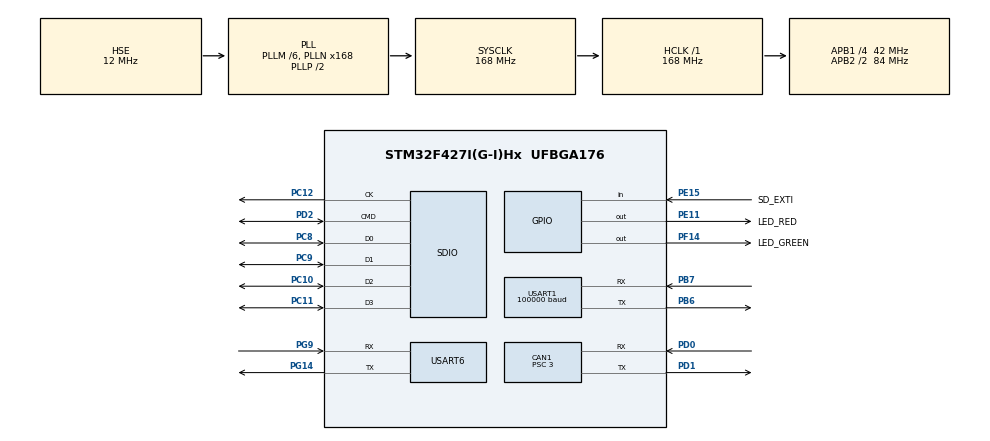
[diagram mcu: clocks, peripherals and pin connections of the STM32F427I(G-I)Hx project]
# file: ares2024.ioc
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CAN1.BS1=CAN_BS1_12TQ
CAN1.CalculateBaudRate=1000000
CAN1.CalculateTimeBit=1000
CAN1.CalculateTimeQuantum=71.42857142857143
CAN1.Prescaler=3
Dma.Request0=USART1_RX
Dma.Request1=USART6_TX
Dma.Request2=SDIO_RX
Dma.Request3=SDIO_TX
Dma.SDIO_RX.2.Direction=DMA_PERIPH_TO_MEMORY
Dma.SDIO_RX.2.FIFOMode=DMA_FIFOMODE_ENABLE
Dma.SDIO_RX.2.FIFOThreshold=DMA_FIFO_THRESHOLD_FULL
Dma.SDIO_RX.2.Instance=DMA2_Stream3
Dma.SDIO_RX.2.MemBurst=DMA_MBURST_INC4
Dma.SDIO_RX.2.MemDataAlignment=DMA_MDATAALIGN_WORD
Dma.SDIO_RX.2.MemInc=DMA_MINC_ENABLE
Dma.SDIO_RX.2.Mode=DMA_PFCTRL
Dma.SDIO_RX.2.PeriphBurst=DMA_PBURST_INC4
Dma.SDIO_RX.2.PeriphDataAlignment=DMA_PDATAALIGN_WORD
Dma.SDIO_RX.2.PeriphInc=DMA_PINC_DISABLE
Dma.SDIO_RX.2.Priority=DMA_PRIORITY_LOW
Dma.SDIO_TX.3.Direction=DMA_MEMORY_TO_PERIPH
Dma.SDIO_TX.3.FIFOMode=DMA_FIFOMODE_ENABLE
Dma.SDIO_TX.3.FIFOThreshold=DMA_FIFO_THRESHOLD_FULL
Dma.SDIO_TX.3.Instance=DMA2_Stream6
Dma.SDIO_TX.3.MemBurst=DMA_MBURST_INC4
Dma.SDIO_TX.3.MemDataAlignment=DMA_MDATAALIGN_WORD
Dma.SDIO_TX.3.MemInc=DMA_MINC_ENABLE
Dma.SDIO_TX.3.Mode=DMA_PFCTRL
Dma.SDIO_TX.3.PeriphBurst=DMA_PBURST_INC4
Dma.SDIO_TX.3.PeriphDataAlignment=DMA_PDATAALIGN_WORD
Dma.SDIO_TX.3.PeriphInc=DMA_PINC_DISABLE
Dma.SDIO_TX.3.Priority=DMA_PRIORITY_LOW
Dma.USART1_RX.0.Direction=DMA_PERIPH_TO_MEMORY
Dma.USART1_RX.0.FIFOMode=DMA_FIFOMODE_DISABLE
Dma.USART1_RX.0.Instance=DMA2_Stream2
Dma.USART1_RX.0.MemDataAlignment=DMA_MDATAALIGN_BYTE
Dma.USART1_RX.0.MemInc=DMA_MINC_ENABLE
Dma.USART1_RX.0.Mode=DMA_CIRCULAR
Dma.USART1_RX.0.PeriphDataAlignment=DMA_PDATAALIGN_BYTE
Dma.USART1_RX.0.PeriphInc=DMA_PINC_DISABLE
Dma.USART1_RX.0.Priority=DMA_PRIORITY_LOW
Dma.USART6_TX.1.Direction=DMA_MEMORY_TO_PERIPH
Dma.USART6_TX.1.FIFOMode=DMA_FIFOMODE_DISABLE
Dma.USART6_TX.1.Instance=DMA2_Stream7
Dma.USART6_TX.1.MemDataAlignment=DMA_MDATAALIGN_BYTE
Dma.USART6_TX.1.MemInc=DMA_MINC_ENABLE
Dma.USART6_TX.1.Mode=DMA_NORMAL
Dma.USART6_TX.1.PeriphDataAlignment=DMA_PDATAALIGN_BYTE
Dma.USART6_TX.1.PeriphInc=DMA_PINC_DISABLE
Dma.USART6_TX.1.Priority=DMA_PRIORITY_LOW
FATFS.BSP.number=1
FATFS.USE_DMA_CODE_SD=1
FATFS._MAX_SS=512
FATFS._USE_LFN=2
FATFS0.BSP.STBoard=false
FATFS0.BSP.api=Unknown
FATFS0.BSP.instance=PE15
FATFS0.BSP.ip=GPIO
FATFS0.BSP.mode=Input
FATFS0.BSP.name=Detect_SDIO
FATFS0.BSP.solution=PE15
FREERTOS.Tasks01=defaultTask,24,128,StartDefaultTask,Default,NULL,Dynamic,NULL,NULL
FREERTOS.configCHECK_FOR_STACK_OVERFLOW=0
FREERTOS.configENABLE_FPU=1
Mcu.Family=STM32F4
Mcu.Name=STM32F427I(G-I)Hx
Mcu.Package=UFBGA176
NVIC.CAN1_RX0_IRQn=true\:5\:0\:true\:false\:true\:true\:true\:true\:true
NVIC.CAN1_RX1_IRQn=true\:5\:0\:true\:false\:true\:true\:true\:true\:true
NVIC.DMA2_Stream2_IRQn=true\:5\:0\:false\:false\:true\:true\:false\:true\:true
NVIC.DMA2_Stream3_IRQn=true\:6\:0\:true\:false\:true\:true\:false\:true\:true
NVIC.DMA2_Stream6_IRQn=true\:6\:0\:true\:false\:true\:true\:false\:true\:true
NVIC.DMA2_Stream7_IRQn=true\:5\:0\:false\:false\:true\:true\:false\:true\:true
NVIC.PriorityGroup=NVIC_PRIORITYGROUP_4
NVIC.SDIO_IRQn=true\:5\:0\:true\:false\:true\:true\:true\:true\:true
NVIC.TIM8_TRG_COM_TIM14_IRQn=true\:15\:0\:false\:false\:true\:false\:false\:true\:true
NVIC.TimeBase=TIM8_TRG_COM_TIM14_IRQn
NVIC.TimeBaseIP=TIM14
NVIC.USART1_IRQn=true\:5\:0\:false\:false\:true\:true\:true\:true\:true
NVIC.USART6_IRQn=true\:5\:0\:false\:false\:true\:true\:true\:true\:true
PA13.Mode=Serial_Wire
PA13.Signal=SYS_JTMS-SWDIO
PA14.Mode=Serial_Wire
PA14.Signal=SYS_JTCK-SWCLK
PB6.Mode=Asynchronous
PB6.Signal=USART1_TX
PB7.Mode=Asynchronous
PB7.Signal=USART1_RX
PC10.Mode=SD_4_bits_Wide_bus
PC10.Signal=SDIO_D2
PC11.Mode=SD_4_bits_Wide_bus
PC11.Signal=SDIO_D3
PC12.Mode=SD_4_bits_Wide_bus
PC12.Signal=SDIO_CK
PC8.Mode=SD_4_bits_Wide_bus
PC8.Signal=SDIO_D0
PC9.Mode=SD_4_bits_Wide_bus
PC9.Signal=SDIO_D1
PD0.Mode=CAN_Activate
PD0.Signal=CAN1_RX
PD1.Mode=CAN_Activate
PD1.Signal=CAN1_TX
PD2.Mode=SD_4_bits_Wide_bus
PD2.Signal=SDIO_CMD
PE11.GPIO_Label=LED_RED
PE11.Signal=GPIO_Output
PE15.GPIO_Label=SD_EXTI
PE15.Signal=GPIO_Input
PF14.GPIO_Label=LED_GREEN
PF14.Signal=GPIO_Output
PG14.Mode=Asynchronous
PG14.Signal=USART6_TX
PG9.Mode=Asynchronous
PG9.Signal=USART6_RX
PH0/OSC_IN.Mode=HSE-External-Oscillator
PH0/OSC_IN.Signal=RCC_OSC_IN
PH1/OSC_OUT.Mode=HSE-External-Oscillator
PH1/OSC_OUT.Signal=RCC_OSC_OUT
ProjectManager.HeapSize=0x200
ProjectManager.StackSize=0x800
ProjectManager.TargetToolchain=Makefile
RCC.48MHZClocksFreq_Value=48000000
RCC.AHBFreq_Value=168000000
RCC.APB1CLKDivider=RCC_HCLK_DIV4
RCC.APB1Freq_Value=42000000
RCC.APB1TimFreq_Value=84000000
RCC.APB2CLKDivider=RCC_HCLK_DIV2
RCC.APB2Freq_Value=84000000
RCC.APB2TimFreq_Value=168000000
RCC.CortexFreq_Value=168000000
RCC.HCLKFreq_Value=168000000
RCC.HSE_VALUE=12000000
RCC.HSI_VALUE=16000000
RCC.LSE_VALUE=32768
RCC.PLLM=6
RCC.PLLN=168
RCC.PLLQ=7
RCC.PLLSourceVirtual=RCC_PLLSOURCE_HSE
RCC.SYSCLKFreq_VALUE=168000000
RCC.SYSCLKSource=RCC_SYSCLKSOURCE_PLLCLK
RCC.VCOOutputFreq_Value=336000000
SDIO.ClockDiv=4
USART1.BaudRate=100000
USART1.Mode=MODE_RX
USART1.Parity=PARITY_EVEN
USART1.VirtualMode=VM_ASYNC
USART1.WordLength=WORDLENGTH_9B
USART6.VirtualMode=VM_ASYNC
VP_FATFS_VS_SDIO.Mode=SDIO
VP_FREERTOS_VS_CMSIS_V2.Mode=CMSIS_V2
VP_SYS_VS_tim14.Mode=TIM14
board=SDCard

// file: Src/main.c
/* USER CODE BEGIN Header */
/**
 ******************************************************************************
 * @file           : main.c
 * @brief          : Main program body
 ******************************************************************************
 * @attention
 *
 * Copyright (c) 2024 STMicroelectronics.
 * All rights reserved.
 *
 * This software is licensed under terms that can be found in the LICENSE file
 * in the root directory of this software component.
 * If no LICENSE file comes with this software, it is provided AS-IS.
 *
 ******************************************************************************
 */
/* USER CODE END Header */
#include "main.h"
#include "cmsis_os.h"
#include "can.h"
#include "dma.h"
#include "fatfs.h"
#include "sdio.h"
#include "usart.h"
#include "gpio.h"

/* USER CODE BEGIN Includes */
#include "stdio.h"
#include "sd_card.h"
#include "bsp_log.h"
#include "bsp_can.h"
#include "chasis.h"
#include "sbus.h"
#include "bsp_dwt.h"
/* USER CODE END Includes */

/* USER CODE BEGIN PV */
/* Private variables ---------------------------------------------------------*/

/* USER CODE END PV */

void SystemClock_Config(void);
void MX_FREERTOS_Init(void);
/* USER CODE BEGIN PFP */
/* Private function prototypes -----------------------------------------------*/

/* USER CODE END PFP */

int main(void)
{

  /* MCU Configuration--------------------------------------------------------*/

  /* Reset of all peripherals, Initializes the Flash interface and the Systick. */
  HAL_Init();

  /* Configure the system clock */
  SystemClock_Config();

  /* Initialize all configured peripherals */
  MX_GPIO_Init();
  MX_DMA_Init();
  MX_SDIO_SD_Init();
  MX_FATFS_Init();
  MX_USART6_UART_Init();
  MX_CAN1_Init();
  MX_USART1_UART_Init();
  /* USER CODE BEGIN 2 */
  can_filter_init();
  // led_off();
  /* Initializes the SD card device */
  BSP_SD_Init();
  BSPLogInit();
  /* Initializes the DWT time counter*/
  DWT_Init(168);
  /* SD card test */
  motor_data_init(); // desireRpm = 0
  sbus_init();

  /* USER CODE END 2 */

  /* Init scheduler */
  osKernelInitialize();  /* Call init function for freertos objects (in freertos.c) */
  MX_FREERTOS_Init();

  /* Start scheduler */
  osKernelStart();

  /* We should never get here as control is now taken by the scheduler */
  /* Infinite loop */
  while (1)
  {

  }
}

void SystemClock_Config(void)
{
  RCC_OscInitTypeDef RCC_OscInitStruct = {0};
  RCC_ClkInitTypeDef RCC_ClkInitStruct = {0};

  /** Configure the main internal regulator output voltage
  */
  __HAL_RCC_PWR_CLK_ENABLE();
  __HAL_PWR_VOLTAGESCALING_CONFIG(PWR_REGULATOR_VOLTAGE_SCALE1);

  /** Initializes the RCC Oscillators according to the specified parameters
  * in the RCC_OscInitTypeDef structure.
  */
  RCC_OscInitStruct.OscillatorType = RCC_OSCILLATORTYPE_HSE;
  RCC_OscInitStruct.HSEState = RCC_HSE_ON;
  RCC_OscInitStruct.PLL.PLLState = RCC_PLL_ON;
  RCC_OscInitStruct.PLL.PLLSource = RCC_PLLSOURCE_HSE;
  RCC_OscInitStruct.PLL.PLLM = 6;
  RCC_OscInitStruct.PLL.PLLN = 168;
  RCC_OscInitStruct.PLL.PLLP = RCC_PLLP_DIV2;
  RCC_OscInitStruct.PLL.PLLQ = 7;
  if (HAL_RCC_OscConfig(&RCC_OscInitStruct) != HAL_OK)
  {
    Error_Handler();
  }

  /** Initializes the CPU, AHB and APB buses clocks
  */
  RCC_ClkInitStruct.ClockType = RCC_CLOCKTYPE_HCLK|RCC_CLOCKTYPE_SYSCLK
                              |RCC_CLOCKTYPE_PCLK1|RCC_CLOCKTYPE_PCLK2;
  RCC_ClkInitStruct.SYSCLKSource = RCC_SYSCLKSOURCE_PLLCLK;
  RCC_ClkInitStruct.AHBCLKDivider = RCC_SYSCLK_DIV1;
  RCC_ClkInitStruct.APB1CLKDivider = RCC_HCLK_DIV4;
  RCC_ClkInitStruct.APB2CLKDivider = RCC_HCLK_DIV2;

  if (HAL_RCC_ClockConfig(&RCC_ClkInitStruct, FLASH_LATENCY_5) != HAL_OK)
  {
    Error_Handler();
  }
}

void HAL_TIM_PeriodElapsedCallback(TIM_HandleTypeDef *htim)
{
  if (htim->Instance == TIM14) {
    HAL_IncTick();
  }
}

void Error_Handler(void)
{
  while (1)
  {
  }
}

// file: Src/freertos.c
/* USER CODE BEGIN Header */
/**
 ******************************************************************************
 * File Name          : freertos.c
 * Description        : Code for freertos applications
 ******************************************************************************
 * @attention
 *
 * Copyright (c) 2024 STMicroelectronics.
 * All rights reserved.
 *
 * This software is licensed under terms that can be found in the LICENSE file
 * in the root directory of this software component.
 * If no LICENSE file comes with this software, it is provided AS-IS.
 *
 ******************************************************************************
 */
/* USER CODE END Header */

#include "FreeRTOS.h"
#include "task.h"
#include "main.h"
#include "cmsis_os.h"

/* USER CODE BEGIN Variables */

// 这里配置每个任务参数  现在的格式：const名字小写大写, 函数任务大写大写，�?�空间由CubeMX里面设置，一共是15k = 128*8*15
osThreadId_t chasisTaskHandle;
const osThreadAttr_t chasisTask_attributes = {
    .name = "chasisTask",
    .stack_size = 128 * 2,
    .priority = (osPriority_t)osPriorityAboveNormal1,
};

osThreadId_t errorDetectTaskHandle;
const osThreadAttr_t errorDetectTask_attributes = {
    .name = "errorDetectTask",
    .stack_size = 128 * 1,
    .priority = (osPriority_t)osPriorityAboveNormal1,
};

osThreadId_t sdioTaskHandle;
const osThreadAttr_t sdioTask_attributes = {
    .name = "sdrwTask",
    .stack_size = 128 * 8 * 4,
    .priority = (osPriority_t)osPriorityHigh,
};

// 这是挂载sd卡的句柄
osThreadId_t mount_open_sdTaskHandle;
const osThreadAttr_t mount_openTask_attributes = {
    .name = "mount_open_sdTask",
    .stack_size = 128 * 8,
    .priority = (osPriority_t)osPriorityHigh,
};

/* USER CODE END Variables */
/* Definitions for defaultTask */
osThreadId_t defaultTaskHandle;
const osThreadAttr_t defaultTask_attributes = {
  .name = "defaultTask",
  .stack_size = 128 * 4,
  .priority = (osPriority_t) osPriorityNormal,
};

/* USER CODE BEGIN FunctionPrototypes */
__weak void ChasisTask(void *argument);
__weak void ErrorDetectTask(void *argument);
__weak void SdioTask(void *argument);
__weak void Mount_open_sdTask(void *argument);

/* USER CODE END FunctionPrototypes */

void StartDefaultTask(void *argument);

void MX_FREERTOS_Init(void); /* (MISRA C 2004 rule 8.1) */

void MX_FREERTOS_Init(void) {

  /* Create the thread(s) */
  /* creation of defaultTask */
  defaultTaskHandle = osThreadNew(StartDefaultTask, NULL, &defaultTask_attributes);

  /* USER CODE BEGIN RTOS_THREADS */
  /* add threads, ... */
  // mount_open_sdTaskHandle = osThreadNew(Mount_open_sdTask, NULL, &mount_openTask_attributes);
  chasisTaskHandle = osThreadNew(ChasisTask, NULL, &chasisTask_attributes);
  // errorDetectTaskHandle = osThreadNew(ErrorDetectTask, NULL, &errorDetectTask_attributes);
  sdioTaskHandle = osThreadNew(SdioTask, NULL, &sdioTask_attributes);

  /* USER CODE END RTOS_THREADS */

}

void StartDefaultTask(void *argument)
{
  for (;;)
  {
    osDelay(1);
  }
}

/* USER CODE BEGIN Application */

__weak void ChasisTask(void *argument)
{
  for (;;)
  {
    osDelay(1);
  }
}

__weak void ErrorDetectTask(void *argument)
{
  for (;;)
  {
    osDelay(1);
  }
}

__weak void SdioTask(void *argument)
{
  for (;;)
  {
    osDelay(1);
  }
}

__weak void Mount_open_sdTask(void *argument)
{
  for (;;)
  {
    osDelay(1);
  }
}

/* USER CODE END Application */
